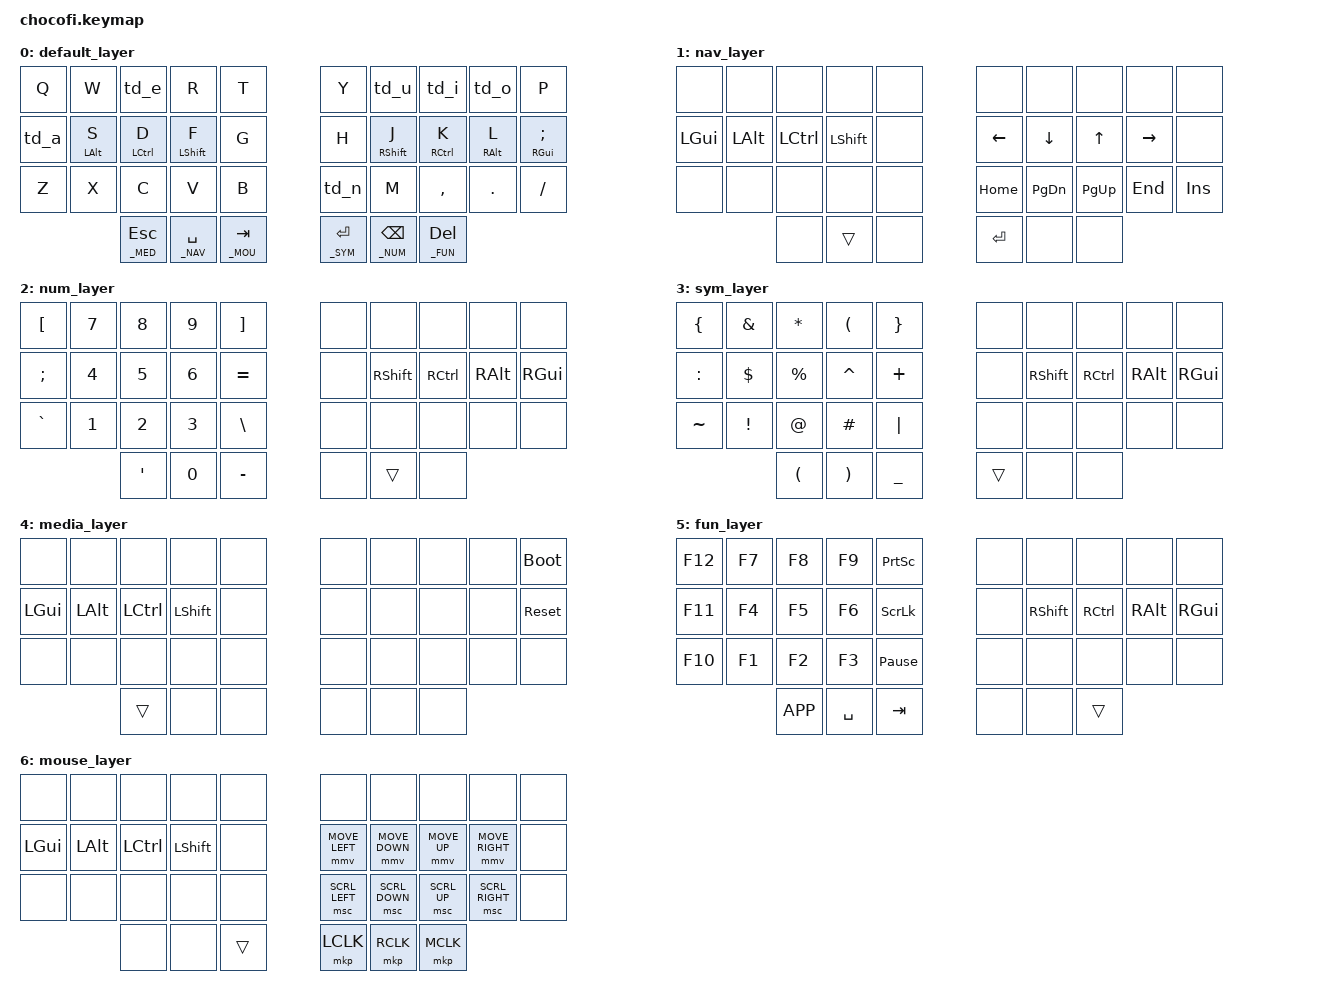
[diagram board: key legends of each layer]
/*
 * Copyright (c) 2020 The ZMK Contributors
 *
 * SPDX-License-Identifier: MIT
 */
#include <behaviors.dtsi>
#include <dt-bindings/zmk/keys.h>
#include <dt-bindings/zmk/bt.h>
#include <dt-bindings/zmk/modifiers.h>
#include <dt-bindings/zmk/pointing.h>

#define _NAV 1
#define _NUM 2
#define _SYM 3
#define _MED 4
#define _FUN 5
#define _MOU 6

&lt {
    quick-tap-ms = <200>;
};

&mt {
    quick-tap-ms = <200>;
    flavor = "tap-preferred";
};

/ {
    macros {
        uc_a_lower: uc_a_lower {
            compatible = "zmk,behavior-macro";
            #binding-cells = <0>;
            wait-ms = <40>;
            tap-ms = <40>;
            bindings = <&macro_tap &kp LC(LS(U)) &ux_n0 &ux_n0 &ux_e &ux_n1 &ux_enter>;
        };
        uc_a_upper: uc_a_upper {
            compatible = "zmk,behavior-macro";
            #binding-cells = <0>;
            wait-ms = <40>;
            tap-ms = <40>;
            bindings = <&macro_tap &kp LC(LS(U)) &ux_n0 &ux_n0 &ux_c &ux_n1 &ux_enter>;
        };
        double_a: double_a {
            compatible = "zmk,behavior-macro";
            #binding-cells = <0>;
            wait-ms = <40>;
            tap-ms = <40>;
            bindings = <&kp A &kp A>;
        };
        uc_e_lower: uc_e_lower {
            compatible = "zmk,behavior-macro";
            #binding-cells = <0>;
            wait-ms = <40>;
            tap-ms = <40>;
            bindings = <&macro_tap &kp LC(LS(U)) &ux_n0 &ux_n0 &ux_e &ux_n9 &ux_enter>;
        };
        uc_e_upper: uc_e_upper {
            compatible = "zmk,behavior-macro";
            #binding-cells = <0>;
            wait-ms = <40>;
            tap-ms = <40>;
            bindings = <&macro_tap &kp LC(LS(U)) &ux_n0 &ux_n0 &ux_c &ux_n9 &ux_enter>;
        };
        double_e: double_e {
            compatible = "zmk,behavior-macro";
            #binding-cells = <0>;
            wait-ms = <40>;
            tap-ms = <40>;
            bindings = <&kp E &kp E>;
        };
        uc_i_lower: uc_i_lower {
            compatible = "zmk,behavior-macro";
            #binding-cells = <0>;
            wait-ms = <40>;
            tap-ms = <40>;
            bindings = <&macro_tap &kp LC(LS(U)) &ux_n0 &ux_n0 &ux_e &ux_d &ux_enter>;
        };
        uc_i_upper: uc_i_upper {
            compatible = "zmk,behavior-macro";
            #binding-cells = <0>;
            wait-ms = <40>;
            tap-ms = <40>;
            bindings = <&macro_tap &kp LC(LS(U)) &ux_n0 &ux_n0 &ux_c &ux_d &ux_enter>;
        };
        double_i: double_i {
            compatible = "zmk,behavior-macro";
            #binding-cells = <0>;
            wait-ms = <40>;
            tap-ms = <40>;
            bindings = <&kp I &kp I>;
        };
        uc_o_lower: uc_o_lower {
            compatible = "zmk,behavior-macro";
            #binding-cells = <0>;
            wait-ms = <40>;
            tap-ms = <40>;
            bindings = <&macro_tap &kp LC(LS(U)) &ux_n0 &ux_n0 &ux_f &ux_n3 &ux_enter>;
        };
        uc_o_upper: uc_o_upper {
            compatible = "zmk,behavior-macro";
            #binding-cells = <0>;
            wait-ms = <40>;
            tap-ms = <40>;
            bindings = <&macro_tap &kp LC(LS(U)) &ux_n0 &ux_n0 &ux_d &ux_n3 &ux_enter>;
        };
        double_o: double_o {
            compatible = "zmk,behavior-macro";
            #binding-cells = <0>;
            wait-ms = <40>;
            tap-ms = <40>;
            bindings = <&kp O &kp O>;
        };
        uc_u_lower: uc_u_lower {
            compatible = "zmk,behavior-macro";
            #binding-cells = <0>;
            wait-ms = <40>;
            tap-ms = <40>;
            bindings = <&macro_tap &kp LC(LS(U)) &ux_n0 &ux_n0 &ux_f &ux_a &ux_enter>;
        };
        uc_u_upper: uc_u_upper {
            compatible = "zmk,behavior-macro";
            #binding-cells = <0>;
            wait-ms = <40>;
            tap-ms = <40>;
            bindings = <&macro_tap &kp LC(LS(U)) &ux_n0 &ux_n0 &ux_d &ux_a &ux_enter>;
        };
        double_u: double_u {
            compatible = "zmk,behavior-macro";
            #binding-cells = <0>;
            wait-ms = <40>;
            tap-ms = <40>;
            bindings = <&kp U &kp U>;
        };
        uc_n_lower: uc_n_lower {
            compatible = "zmk,behavior-macro";
            #binding-cells = <0>;
            wait-ms = <40>;
            tap-ms = <40>;
            bindings = <&macro_tap &kp LC(LS(U)) &ux_n0 &ux_n0 &ux_f &ux_n1 &ux_enter>;
        };
        uc_n_upper: uc_n_upper {
            compatible = "zmk,behavior-macro";
            #binding-cells = <0>;
            wait-ms = <40>;
            tap-ms = <40>;
            bindings = <&macro_tap &kp LC(LS(U)) &ux_n0 &ux_n0 &ux_d &ux_n1 &ux_enter>;
        };
        double_n: double_n {
            compatible = "zmk,behavior-macro";
            #binding-cells = <0>;
            wait-ms = <40>;
            tap-ms = <40>;
            bindings = <&kp N &kp N>;
        };
    };
    behaviors {
        dashboard_sync: dsync {
            compatible = "custom,dashboard-sync";
            #binding-cells = <2>;
        };
        ux_n0: unicode_n0 {
            compatible = "zmk,behavior-mod-morph";
            #binding-cells = <0>;
            bindings = <&kp N0>, <&kp N0>;
            mods = <(MOD_LSFT | MOD_RSFT)>;
        };
        ux_n1: unicode_n1 {
            compatible = "zmk,behavior-mod-morph";
            #binding-cells = <0>;
            bindings = <&kp N1>, <&kp N1>;
            mods = <(MOD_LSFT | MOD_RSFT)>;
        };
        ux_n3: unicode_n3 {
            compatible = "zmk,behavior-mod-morph";
            #binding-cells = <0>;
            bindings = <&kp N3>, <&kp N3>;
            mods = <(MOD_LSFT | MOD_RSFT)>;
        };
        ux_n9: unicode_n9 {
            compatible = "zmk,behavior-mod-morph";
            #binding-cells = <0>;
            bindings = <&kp N9>, <&kp N9>;
            mods = <(MOD_LSFT | MOD_RSFT)>;
        };
        ux_a: unicode_a {
            compatible = "zmk,behavior-mod-morph";
            #binding-cells = <0>;
            bindings = <&kp A>, <&kp A>;
            mods = <(MOD_LSFT | MOD_RSFT)>;
        };
        ux_b: unicode_b {
            compatible = "zmk,behavior-mod-morph";
            #binding-cells = <0>;
            bindings = <&kp B>, <&kp B>;
            mods = <(MOD_LSFT | MOD_RSFT)>;
        };
        ux_c: unicode_c {
            compatible = "zmk,behavior-mod-morph";
            #binding-cells = <0>;
            bindings = <&kp C>, <&kp C>;
            mods = <(MOD_LSFT | MOD_RSFT)>;
        };
        ux_d: unicode_d {
            compatible = "zmk,behavior-mod-morph";
            #binding-cells = <0>;
            bindings = <&kp D>, <&kp D>;
            mods = <(MOD_LSFT | MOD_RSFT)>;
        };
        ux_e: unicode_e {
            compatible = "zmk,behavior-mod-morph";
            #binding-cells = <0>;
            bindings = <&kp E>, <&kp E>;
            mods = <(MOD_LSFT | MOD_RSFT)>;
        };
        ux_f: unicode_f {
            compatible = "zmk,behavior-mod-morph";
            #binding-cells = <0>;
            bindings = <&kp F>, <&kp F>;
            mods = <(MOD_LSFT | MOD_RSFT)>;
        };
        ux_enter: unicode_enter {
            compatible = "zmk,behavior-mod-morph";
            #binding-cells = <0>;
            bindings = <&kp ENTER>, <&kp ENTER>;
            mods = <(MOD_LSFT | MOD_RSFT)>;
        };
        accent_a: accent_a {
            compatible = "zmk,behavior-mod-morph";
            #binding-cells = <0>;
            bindings = <&uc_a_lower>, <&uc_a_upper>;
            mods = <(MOD_LSFT | MOD_RSFT)>;
        };
        td_a: tap_dance_a {
            compatible = "zmk,behavior-tap-dance";
            #binding-cells = <0>;
            tapping-term-ms = <200>;
            bindings = <&mt LGUI A>, <&double_a>, <&accent_a>;
        };
        accent_e: accent_e {
            compatible = "zmk,behavior-mod-morph";
            #binding-cells = <0>;
            bindings = <&uc_e_lower>, <&uc_e_upper>;
            mods = <(MOD_LSFT | MOD_RSFT)>;
        };
        td_e: tap_dance_e {
            compatible = "zmk,behavior-tap-dance";
            #binding-cells = <0>;
            tapping-term-ms = <200>;
            bindings = <&kp E>, <&double_e>, <&accent_e>;
        };
        accent_i: accent_i {
            compatible = "zmk,behavior-mod-morph";
            #binding-cells = <0>;
            bindings = <&uc_i_lower>, <&uc_i_upper>;
            mods = <(MOD_LSFT | MOD_RSFT)>;
        };
        td_i: tap_dance_i {
            compatible = "zmk,behavior-tap-dance";
            #binding-cells = <0>;
            tapping-term-ms = <200>;
            bindings = <&kp I>, <&double_i>, <&accent_i>;
        };
        accent_o: accent_o {
            compatible = "zmk,behavior-mod-morph";
            #binding-cells = <0>;
            bindings = <&uc_o_lower>, <&uc_o_upper>;
            mods = <(MOD_LSFT | MOD_RSFT)>;
        };
        td_o: tap_dance_o {
            compatible = "zmk,behavior-tap-dance";
            #binding-cells = <0>;
            tapping-term-ms = <200>;
            bindings = <&kp O>, <&double_o>, <&accent_o>;
        };
        accent_u: accent_u {
            compatible = "zmk,behavior-mod-morph";
            #binding-cells = <0>;
            bindings = <&uc_u_lower>, <&uc_u_upper>;
            mods = <(MOD_LSFT | MOD_RSFT)>;
        };
        td_u: tap_dance_u {
            compatible = "zmk,behavior-tap-dance";
            #binding-cells = <0>;
            tapping-term-ms = <200>;
            bindings = <&kp U>, <&double_u>, <&accent_u>;
        };
        accent_n: accent_n {
            compatible = "zmk,behavior-mod-morph";
            #binding-cells = <0>;
            bindings = <&uc_n_lower>, <&uc_n_upper>;
            mods = <(MOD_LSFT | MOD_RSFT)>;
        };
        td_n: tap_dance_n {
            compatible = "zmk,behavior-tap-dance";
            #binding-cells = <0>;
            tapping-term-ms = <200>;
            bindings = <&kp N>, <&double_n>, <&accent_n>;
        };
    };
};

/ {
        chosen { zmk,physical-layout = &foostan_corne_5col_layout; };
        keymap {
                compatible = "zmk,keymap";

                default_layer {
// ------------------------------------------------------------------
// |  Q  |  W  |  E  |  R  |  T  |   |  Y  |  U   |  I  |  O  |  P  |
// |  A  |  S  |  D  |  F  |  G  |   |  H  |  J   |  K  |  L  |  ;  |
// |  Z  |  X  |  C  |  V  |  B  |   |  N  |  M   |  ,  |  .  |  /  |
//            | ESC | SPACE | TAB |  | ENT | BSPC | DEL |
                        bindings = <
   &kp Q &kp W &td_e &kp R &kp T   &kp Y &td_u  &td_i     &td_o   &kp P
   &td_a &mt LALT S &mt LCTRL D &mt LSHFT F &kp G   &kp H &mt RSHFT J &mt RCTRL K &mt RALT L &mt RGUI SEMI
   &kp Z &kp X &kp C &kp V &kp B   &td_n &kp M  &kp COMMA &kp DOT &kp FSLH
       &lt _MED ESC &lt _NAV SPACE &lt _MOU TAB  &lt _SYM RET &lt _NUM BSPC &lt _FUN DEL
                        >;
                };

                nav_layer {
// -----------------------------------------------------------------
// |     |     |     |     |     |   |     |     |     |     |     |
// |LGUI |LALT |LCTRL|LSHFT|     |   | LFT | DWN |  UP | RGT |     |
// |     |     |     |     |     |   |HOME |PG_DN|PG_UP| END | INS |
//             |     |_____|     |   | ENT |     |     |
                        bindings = <
&none    &none    &none     &none     &none  &none     &none     &none     &none     &none
&kp LGUI &kp LALT &kp LCTRL &kp LSHFT &none  &kp LEFT  &kp DOWN  &kp UP    &kp RIGHT &none
&none    &none    &none     &none     &none  &kp HOME  &kp PG_DN &kp PG_UP &kp END   &kp INS
                         &none &trans &none  &kp ENTER &none     &none
                        >;
                };

                num_layer {
// -----------------------------------------------------------------
// |  [  |  7  |  8  |  9  |  ]  |   |     |     |     |     |     |
// |  ;  |  4  |  5  |  6  |  =  |   |     |RSHFT|RCTRL|RALT |RGUI |
// |  `  |  1  |  2  |  3  |  \  |   |     |     |     |     |     |
//             |  '  |  0  |  -  |   |     |     |_____|     |
                        bindings = <
&kp LBKT  &kp N7 &kp N8 &kp N9 &kp RBKT      &none &none     &none     &none    &none
&kp SCLN  &kp N4 &kp N5 &kp N6 &kp EQUAL     &none &kp RSHFT &kp RCTRL &kp RALT &kp RGUI
&kp GRAVE &kp N1 &kp N2 &kp N3 &kp BSLH      &none &none     &none     &none    &none
                &kp SQT &kp N0 &kp MINUS     &none &trans &none
                        >;
                };

                sym_layer {
// -----------------------------------------------------------------
// |  {  |  &  |  *  |  (  |  }  |   |     |     |     |     |     |
// |  :  |  $  |  %  |  ^  |  +  |   |     |RSHFT|RCTRL|RALT |RGUI |
// |  ~  |  !  |  @  |  #  |  |  |   |     |     |     |     |     |
//             |  (  |  )  |  _  |   |     |_____|     |     |
                        bindings = <
&kp LBRC  &kp AMPS &kp ASTRK &kp LPAR  &kp RBRC  &none  &none     &none     &none    &none
&kp COLON &kp DLLR &kp PRCNT &kp CARET &kp PLUS  &none  &kp RSHFT &kp RCTRL &kp RALT &kp RGUI
&kp TILDE &kp EXCL &kp AT    &kp HASH  &kp PIPE &none  &none     &none     &none    &none
                   &kp LPAR  &kp RPAR  &kp UNDER &trans &none     &none
                        >;
                };

                media_layer {
// -----------------------------------------------------------------
// |     |     |     |     |     |   |     |     |     |     |     |
// |LGUI |LALT |LCTRL|LSHFT|     |   |     |     |     |     |     |
// |     |     |     |     |     |   |     |     |     |     |     |
//             |_____|     |     |   |     |     |     |  
                        bindings = <
&none &none &none &none &none                  &none &none &none &none &bootloader
&kp LGUI &kp LALT &kp LCTRL &kp LSHFT &none    &none &none &none &none &sys_reset
&none &none &none &none &none                  &none &none &none &none &none
           &trans &none &none     &none &none &none
                       >;
                };

                fun_layer {
// -----------------------------------------------------------------
// | F12 |  F7 |  F8 |  F9 | PSCN|   |     |     |     |     |     |
// | F11 |  F4 |  F5 |  F6 | SCLO|   |     |RSHFT|RCTRL|RALT |RGUI |
// | F10 |  F1 |  F2 |  F3 | PAUS|   |     |     |     |     |     |
//             |  APP| SPC | TAB |   |     |_____|     |     |
                        bindings = <
&kp F12 &kp F7 &kp F8 &kp F9 &kp PSCRN        &none &none &none  &none &none
&kp F11 &kp F4 &kp F5 &kp F6 &kp SLCK         &none &kp RSHFT &kp RCTRL &kp RALT &kp RGUI
&kp F10 &kp F1 &kp F2 &kp F3 &kp PAUSE_BREAK  &none &none &none  &none &none
         &kp K_APP &kp SPACE &kp TAB          &none &none &trans
                       >;
                };

                mouse_layer {
// -----------------------------------------------------------------
// |     |     |     |     |     |   |     |     |     |     |     |
// |LGUI |LALT |LCTRL|LSHFT|     |   |     |     |     |     |     |
// |     |     |     |     |     |   |     |     |     |     |     |
//             |     |     |_____|   |     |     |     |
                        bindings = <
&none &none &none &none &none                  &none &none &none &none &none
&kp LGUI &kp LALT &kp LCTRL &kp LSHFT &none    &mmv MOVE_LEFT &mmv MOVE_DOWN &mmv MOVE_UP &mmv MOVE_RIGHT &none
&none &none &none &none &none                  &msc SCRL_LEFT &msc SCRL_DOWN &msc SCRL_UP &msc SCRL_RIGHT &none
           &none &none &trans     &mkp LCLK &mkp RCLK &mkp MCLK
                       >;
                };
        };
};

